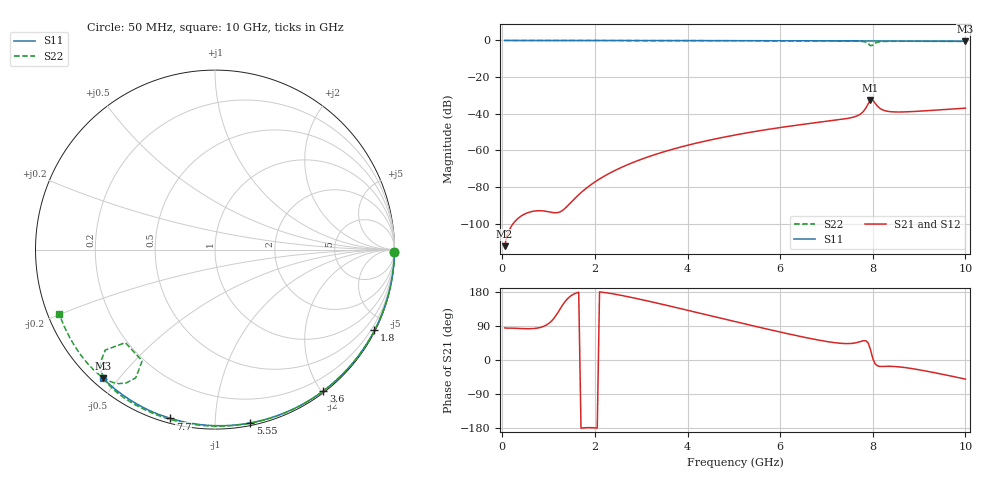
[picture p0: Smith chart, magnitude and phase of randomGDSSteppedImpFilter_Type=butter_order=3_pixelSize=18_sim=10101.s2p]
! freq	dB(S11)	phase(S11)	dB(S12)	phase(S12)
!  dB(S21)	phase(S21)	dB(S22)	phase(S22)
!S-par simulation data
#  GHz  S  DB  R 50
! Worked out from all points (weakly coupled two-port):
!   200 points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, 50 MHz to 10 GHz, reference 50 ohm
!   highest |S21| = -32.43 dB at 7.95 GHz (marker M1); lowest = -112.3 dB at 50 MHz (marker M2)
!   lowest |S11| = -0.4 dB at 10 GHz (marker M3), VSWR 39.33, Z = 1.53 - j22.7 ohm
!   |S11| at or under -10 dB: nowhere
!   |S22| runs from -2.9 to 0.0 dB; largest |S21 - S12| = 0
!   S11 on the Smith chart (normalised r, x): 50 MHz: open; 1.8 GHz: 0.04, -4.19; 3.6 GHz: 0.02, -2.03; 5.55 GHz: 0.02, -1.22; 7.7 GHz: 0.02, -0.77; 10 GHz: 0.03, -0.45
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0.05  -0.00 -0.8  -112.31 84.7  -112.31 84.7  -0.00 -0.9
0.9  -0.02 -13.6  -93.11 89.2  -93.11 89.2  -0.02 -16.4
1.75  -0.03 -26.1  -81.99 -179.1  -81.99 -179.1  -0.04 -31.6
1.8  -0.03 -26.9  -80.95 -178.6  -80.95 -178.6  -0.04 -32.5
1.85  -0.04 -27.6  -79.96 -178.4  -79.96 -178.4  -0.04 -33.3
2.55  -0.05 -37.7  -69.56 171.0  -69.56 171.0  -0.06 -45.5
3.4  -0.07 -49.8  -61.46 148.5  -61.46 148.5  -0.08 -59.9
3.6  -0.07 -52.5  -59.95 142.8  -59.95 142.8  -0.08 -63.2
5.05  -0.11 -72.0  -51.50 100.7  -51.50 100.7  -0.13 -86.5
5.55  -0.13 -78.5  -49.30 86.4  -49.30 86.4  -0.15 -94.2
6.7  -0.18 -92.8  -45.13 55.5  -45.13 55.5  -0.22 -111.7
7.45  -0.22 -101.8  -42.59 43.3  -42.59 43.3  -0.30 -123.9
7.7  -0.24 -104.8  -40.70 47.3  -40.70 47.3  -0.42 -129.5
7.85  -0.25 -106.5  -36.94 50.7  -36.94 50.7  -0.94 -135.4
7.9  -0.26 -107.1  -34.59 45.1  -34.59 45.1  -1.63 -137.5
7.95  -0.26 -107.7  -32.43 27.8  -32.43 27.8  -2.85 -133.9
8  -0.26 -108.2  -32.52 4.1  -32.52 4.1  -2.60 -123.2
8.1  -0.26 -109.4  -35.86 -15.4  -35.86 -15.4  -0.97 -123.7
8.2  -0.27 -110.6  -37.75 -17.0  -37.75 -17.0  -0.60 -127.4
8.35  -0.28 -112.3  -38.80 -16.6  -38.80 -16.6  -0.47 -131.2
9.05  -0.34 -120.4  -38.54 -26.9  -38.54 -26.9  -0.45 -143.2
10  -0.44 -131.1  -36.95 -50.4  -36.95 -50.4  -0.55 -157.4
